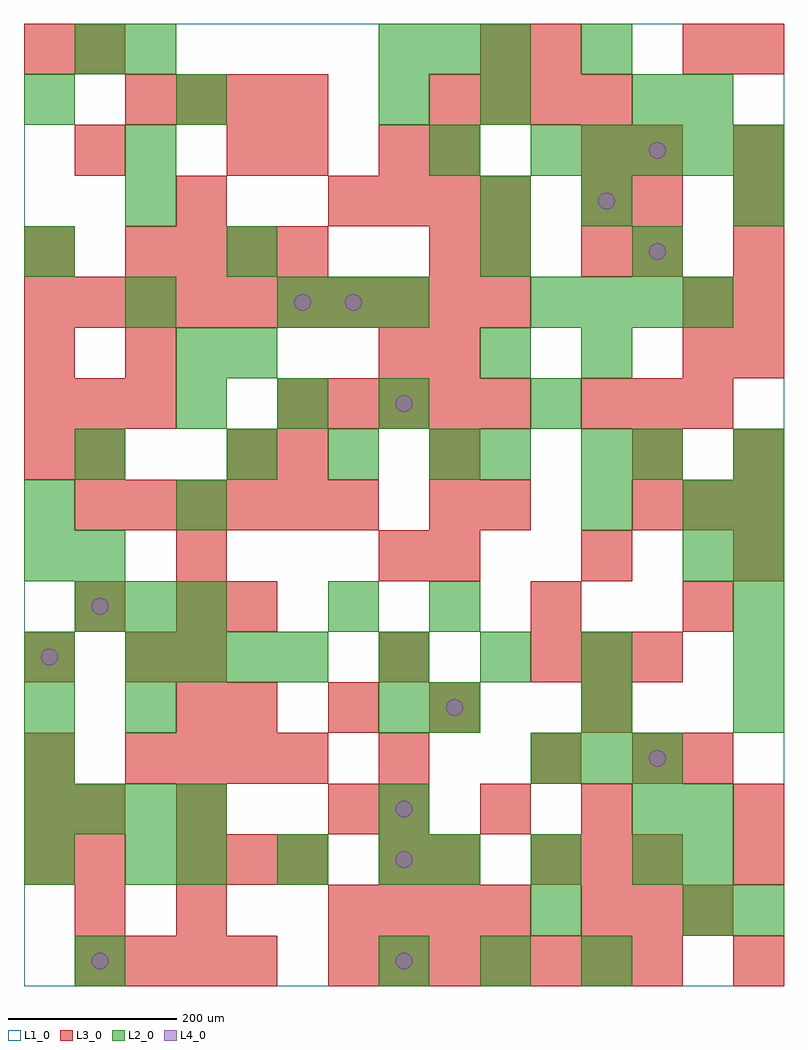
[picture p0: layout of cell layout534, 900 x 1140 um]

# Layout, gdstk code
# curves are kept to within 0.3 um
import gdstk
lib = gdstk.Library(unit=1e-6, precision=1e-09)
def R(c, l, rs):  # rectangles x0, y0, x1, y1
    for r in rs: c.add(gdstk.rectangle(r[:2], r[2:], *l))
def A(c, l, x, y, w, h, nx, ny, dx, dy):  # array of equal rectangles
    R(c, l, [(x+i*dx, y+j*dy, x+i*dx+w, y+j*dy+h) for i in range(nx) for j in range(ny)])
def P(c, l, *ps):  # polygons
    for p in ps: c.add(gdstk.Polygon(p, *l))
L1_0 = (1, 0)
L2_0 = (2, 0)
L3_0 = (3, 0)
L4_0 = (4, 0)

layout534 = lib.new_cell('layout534')
R(layout534, L1_0, [(0,0,900,1140)])
A(layout534, L2_0, 420, 0, 60, 60, 3, 2, 120, 360)
A(layout534, L2_0, 780, 60, 60, 60, 1, 3, 0, 60)
A(layout534, L2_0, 180, 120, 60, 60, 3, 2, 120, 540)
A(layout534, L2_0, 480, 120, 60, 60, 3, 1, 120, 0)
A(layout534, L2_0, 0, 180, 60, 60, 4, 1, 60, 0)
A(layout534, L2_0, 0, 240, 60, 60, 1, 3, 0, 60)
A(layout534, L2_0, 600, 240, 60, 60, 3, 1, 60, 0)
A(layout534, L2_0, 480, 300, 60, 60, 3, 1, 180, 0)
A(layout534, L2_0, 120, 360, 60, 60, 4, 1, 60, 0)
A(layout534, L2_0, 840, 360, 60, 60, 1, 5, 0, 60)
A(layout534, L2_0, 60, 420, 60, 60, 3, 1, 60, 0)
A(layout534, L2_0, 240, 600, 60, 60, 3, 1, 120, 0)
A(layout534, L2_0, 540, 600, 60, 60, 1, 3, 0, 120)
A(layout534, L2_0, 660, 720, 60, 60, 1, 3, 0, 180)
A(layout534, L2_0, 300, 780, 60, 60, 3, 1, 60, 0)
A(layout534, L2_0, 600, 780, 60, 60, 4, 1, 60, 0)
A(layout534, L2_0, 600, 960, 60, 60, 5, 1, 60, 0)
A(layout534, L2_0, 420, 1080, 60, 60, 3, 1, 60, 0)
R(layout534, L2_0, [(60,0,120,60), (600,60,660,120), (840,60,900,120), (0,120,60,180), (120,120,180,180), (420,180,480,240), (720,180,780,240), (120,300,180,360), (420,300,480,360), (360,420,420,480), (480,420,540,480), (0,480,60,540), (60,480,120,540), (780,480,840,540), (0,540,60,600), (180,540,240,600), (660,540,720,600), (780,540,840,600), (60,600,120,660), (660,600,720,660), (720,600,780,660), (600,660,660,720), (180,720,240,780), (240,720,300,780), (120,780,180,840), (0,840,60,900), (240,840,300,900), (720,840,780,900), (120,900,180,960), (540,900,600,960), (840,900,900,960), (120,960,180,1020), (480,960,540,1020), (0,1020,60,1080), (180,1020,240,1080), (420,1020,480,1080), (540,1020,600,1080), (720,1020,780,1080), (780,1020,840,1080), (60,1080,120,1140), (120,1080,180,1140)])
A(layout534, L3_0, 60, 0, 60, 60, 4, 1, 60, 0)
A(layout534, L3_0, 360, 0, 60, 60, 7, 1, 60, 0)
A(layout534, L3_0, 60, 60, 60, 60, 1, 3, 0, 60)
A(layout534, L3_0, 180, 60, 60, 60, 1, 3, 0, 120)
A(layout534, L3_0, 360, 60, 60, 60, 4, 2, 60, 840)
A(layout534, L3_0, 660, 60, 60, 60, 3, 2, 60, 600)
A(layout534, L3_0, 0, 120, 60, 60, 1, 3, 0, 60)
A(layout534, L3_0, 180, 120, 60, 60, 3, 1, 60, 0)
A(layout534, L3_0, 420, 120, 60, 60, 1, 4, 0, 120)
A(layout534, L3_0, 600, 120, 60, 60, 3, 2, 60, 240)
A(layout534, L3_0, 420, 180, 60, 60, 3, 1, 120, 0)
A(layout534, L3_0, 120, 240, 60, 60, 4, 2, 60, 600)
A(layout534, L3_0, 240, 300, 60, 60, 3, 1, 120, 0)
A(layout534, L3_0, 180, 360, 60, 60, 1, 3, 0, 60)
A(layout534, L3_0, 480, 480, 60, 60, 3, 1, 180, 0)
A(layout534, L3_0, 60, 540, 60, 60, 6, 1, 60, 0)
A(layout534, L3_0, 720, 540, 60, 60, 3, 1, 60, 0)
A(layout534, L3_0, 0, 600, 60, 60, 1, 3, 0, 120)
A(layout534, L3_0, 480, 600, 60, 60, 1, 4, 0, 120)
A(layout534, L3_0, 0, 660, 60, 60, 3, 1, 60, 0)
A(layout534, L3_0, 300, 660, 60, 60, 5, 1, 60, 0)
A(layout534, L3_0, 840, 720, 60, 60, 1, 5, 0, 60)
A(layout534, L3_0, 0, 780, 60, 60, 10, 1, 60, 0)
A(layout534, L3_0, 660, 840, 60, 60, 1, 3, 0, 60)
A(layout534, L3_0, 720, 840, 60, 60, 1, 3, 0, 60)
A(layout534, L3_0, 120, 1020, 60, 60, 4, 1, 60, 0)
A(layout534, L3_0, 480, 1020, 60, 60, 4, 1, 60, 0)
R(layout534, L3_0, [(840,0,900,60), (480,120,540,180), (840,120,900,180), (360,180,420,240), (840,180,900,240), (600,240,660,300), (720,240,780,300), (780,240,840,300), (660,300,720,360), (0,360,60,420), (120,360,180,420), (60,420,120,480), (240,420,300,480), (600,420,660,480), (780,420,840,480), (480,540,540,600), (540,540,600,600), (60,600,120,660), (240,600,300,660), (300,600,360,660), (720,600,780,660), (840,600,900,660), (120,720,180,780), (420,720,480,780), (780,720,840,780), (780,780,840,840), (540,840,600,900), (180,900,240,960), (60,960,120,1020), (240,960,300,1020), (300,960,360,1020), (420,960,480,1020), (0,1080,60,1140), (60,1080,120,1140), (540,1080,600,1140), (600,1080,660,1140), (780,1080,840,1140), (840,1080,900,1140)])
P(layout534, L4_0, [(40,390),(39.239,393.827),(37.071,397.071),(33.827,399.239),(30,400),(26.173,399.239),(22.929,397.071),(20.761,393.827),(20,390),(20.761,386.173),(22.929,382.929),(26.173,380.761),(30,380),(33.827,380.761),(37.071,382.929),(39.239,386.173)],
  [(100,30),(99.239,33.827),(97.071,37.071),(93.827,39.239),(90,40),(86.173,39.239),(82.929,37.071),(80.761,33.827),(80,30),(80.761,26.173),(82.929,22.929),(86.173,20.761),(90,20),(93.827,20.761),(97.071,22.929),(99.239,26.173)],
  [(100,450),(99.239,453.827),(97.071,457.071),(93.827,459.239),(90,460),(86.173,459.239),(82.929,457.071),(80.761,453.827),(80,450),(80.761,446.173),(82.929,442.929),(86.173,440.761),(90,440),(93.827,440.761),(97.071,442.929),(99.239,446.173)],
  [(340,810),(339.239,813.827),(337.071,817.071),(333.827,819.239),(330,820),(326.173,819.239),(322.929,817.071),(320.761,813.827),(320,810),(320.761,806.173),(322.929,802.929),(326.173,800.761),(330,800),(333.827,800.761),(337.071,802.929),(339.239,806.173)],
  [(400,810),(399.239,813.827),(397.071,817.071),(393.827,819.239),(390,820),(386.173,819.239),(382.929,817.071),(380.761,813.827),(380,810),(380.761,806.173),(382.929,802.929),(386.173,800.761),(390,800),(393.827,800.761),(397.071,802.929),(399.239,806.173)],
  [(460,30),(459.239,33.827),(457.071,37.071),(453.827,39.239),(450,40),(446.173,39.239),(442.929,37.071),(440.761,33.827),(440,30),(440.761,26.173),(442.929,22.929),(446.173,20.761),(450,20),(453.827,20.761),(457.071,22.929),(459.239,26.173)],
  [(460,150),(459.239,153.827),(457.071,157.071),(453.827,159.239),(450,160),(446.173,159.239),(442.929,157.071),(440.761,153.827),(440,150),(440.761,146.173),(442.929,142.929),(446.173,140.761),(450,140),(453.827,140.761),(457.071,142.929),(459.239,146.173)],
  [(460,210),(459.239,213.827),(457.071,217.071),(453.827,219.239),(450,220),(446.173,219.239),(442.929,217.071),(440.761,213.827),(440,210),(440.761,206.173),(442.929,202.929),(446.173,200.761),(450,200),(453.827,200.761),(457.071,202.929),(459.239,206.173)],
  [(460,690),(459.239,693.827),(457.071,697.071),(453.827,699.239),(450,700),(446.173,699.239),(442.929,697.071),(440.761,693.827),(440,690),(440.761,686.173),(442.929,682.929),(446.173,680.761),(450,680),(453.827,680.761),(457.071,682.929),(459.239,686.173)],
  [(520,330),(519.239,333.827),(517.071,337.071),(513.827,339.239),(510,340),(506.173,339.239),(502.929,337.071),(500.761,333.827),(500,330),(500.761,326.173),(502.929,322.929),(506.173,320.761),(510,320),(513.827,320.761),(517.071,322.929),(519.239,326.173)],
  [(700,930),(699.239,933.827),(697.071,937.071),(693.827,939.239),(690,940),(686.173,939.239),(682.929,937.071),(680.761,933.827),(680,930),(680.761,926.173),(682.929,922.929),(686.173,920.761),(690,920),(693.827,920.761),(697.071,922.929),(699.239,926.173)],
  [(760,270),(759.239,273.827),(757.071,277.071),(753.827,279.239),(750,280),(746.173,279.239),(742.929,277.071),(740.761,273.827),(740,270),(740.761,266.173),(742.929,262.929),(746.173,260.761),(750,260),(753.827,260.761),(757.071,262.929),(759.239,266.173)],
  [(760,870),(759.239,873.827),(757.071,877.071),(753.827,879.239),(750,880),(746.173,879.239),(742.929,877.071),(740.761,873.827),(740,870),(740.761,866.173),(742.929,862.929),(746.173,860.761),(750,860),(753.827,860.761),(757.071,862.929),(759.239,866.173)],
  [(760,990),(759.239,993.827),(757.071,997.071),(753.827,999.239),(750,1000),(746.173,999.239),(742.929,997.071),(740.761,993.827),(740,990),(740.761,986.173),(742.929,982.929),(746.173,980.761),(750,980),(753.827,980.761),(757.071,982.929),(759.239,986.173)])

lib.write_gds('layout534.gds')
